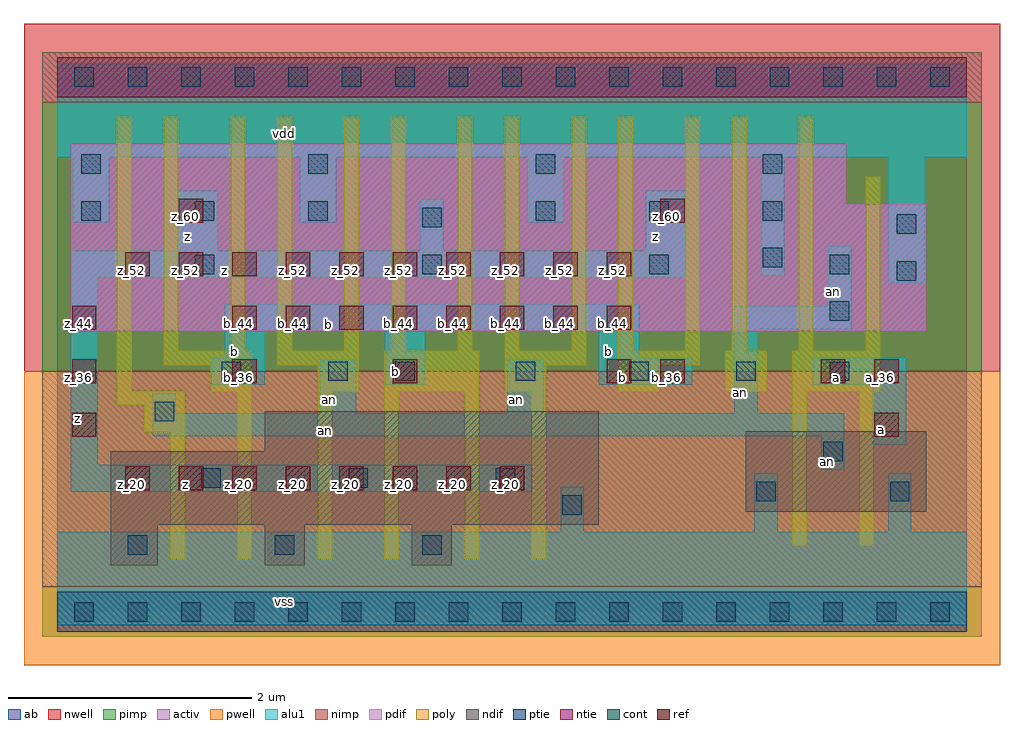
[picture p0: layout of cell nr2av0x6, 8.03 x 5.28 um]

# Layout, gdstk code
import gdstk
lib = gdstk.Library(unit=1e-6, precision=2.5e-09)
def R(c, l, rs):  # rectangles x0, y0, x1, y1
    for r in rs: c.add(gdstk.rectangle(r[:2], r[2:], *l))
def A(c, l, x, y, w, h, nx, ny, dx, dy):  # array of equal rectangles
    R(c, l, [(x+i*dx, y+j*dy, x+i*dx+w, y+j*dy+h) for i in range(nx) for j in range(ny)])
ndif = (3, 0)
pdif = (4, 0)
ntie = (5, 0)
ptie = (6, 0)
ref = (24, 0)
cont = (25, 0)
pwell = (41, 0)
nwell = (42, 0)
activ = (43, 0)
pimp = (44, 0)
nimp = (45, 0)
poly = (46, 0)
alu1 = (49, 0)
ab = (63, 0)

nr2av0x6 = lib.new_cell('nr2av0x6')
R(nr2av0x6, ndif, [(0.44,0.385,0.825,0.715), (1.705,0.385,2.035,0.715), (2.915,0.385,3.245,0.715), (0.44,0.715,4.455,1.32), (5.665,0.825,7.15,1.485), (1.705,1.32,4.455,1.65)])
R(nr2av0x6, pdif, [(0.11,2.31,7.15,3.355), (0.11,3.355,6.49,3.85)])
R(nr2av0x6, ntie, [(0,4.235,7.48,4.565)])
R(nr2av0x6, ptie, [(0,-0.165,7.48,0.165)])
A(nr2av0x6, ref, 0.56, 1, 0.2, 0.2, 8, 1, 0.44, 0)
A(nr2av0x6, ref, 0.12, 1.88, 0.2, 0.2, 3, 1, 1.32, 0)
A(nr2av0x6, ref, 1.44, 2.32, 0.2, 0.2, 8, 1, 0.44, 0)
A(nr2av0x6, ref, 0.56, 2.76, 0.2, 0.2, 10, 1, 0.44, 0)
R(nr2av0x6, ref, [(0.12,1.44,0.32,1.64), (6.72,1.44,6.92,1.64), (4.52,1.88,4.72,2.08), (4.96,1.88,5.16,2.08), (6.28,1.88,6.48,2.08), (6.72,1.88,6.92,2.08), (0.12,2.32,0.32,2.52), (1,3.2,1.2,3.4), (4.96,3.2,5.16,3.4)])
A(nr2av0x6, cont, 0.14, -0.08, 0.16, 0.16, 17, 2, 0.44, 4.4)
A(nr2av0x6, cont, 0.58, 0.47, 0.16, 0.16, 3, 1, 1.21, 0)
A(nr2av0x6, cont, 1.185, 1.02, 0.16, 0.16, 3, 1, 1.21, 0)
A(nr2av0x6, cont, 1.13, 2.78, 0.16, 0.16, 3, 1, 1.87, 0)
A(nr2av0x6, cont, 0.195, 3.22, 0.16, 0.16, 3, 1, 0.935, 0)
A(nr2av0x6, cont, 3.935, 3.22, 0.16, 0.16, 3, 1, 0.935, 0)
A(nr2av0x6, cont, 0.195, 3.605, 0.16, 0.16, 4, 1, 1.87, 0)
R(nr2av0x6, cont, [(4.155,0.8,4.315,0.96), (5.75,0.91,5.91,1.07), (6.85,0.91,7.01,1.07), (6.3,1.24,6.46,1.4), (0.8,1.57,0.96,1.73), (1.35,1.9,1.51,2.06), (2.23,1.9,2.39,2.06), (2.78,1.9,2.94,2.06), (3.77,1.9,3.93,2.06), (4.705,1.9,4.865,2.06), (5.585,1.9,5.745,2.06), (6.355,1.9,6.515,2.06), (6.355,2.395,6.515,2.555), (6.905,2.725,7.065,2.885), (6.355,2.78,6.515,2.94), (5.805,2.835,5.965,2.995), (6.905,3.11,7.065,3.27), (3,3.165,3.16,3.325)])
R(nr2av0x6, pwell, [(-0.275,-0.44,7.755,1.98)])
R(nr2av0x6, nwell, [(-0.275,1.98,7.755,4.84)])
R(nr2av0x6, activ, [(0,-0.165,7.48,0.165), (0.44,0.385,0.825,0.715), (1.705,0.385,2.035,0.715), (2.915,0.385,3.245,0.715), (0.44,0.715,4.455,1.32), (5.665,0.825,7.15,1.485), (1.705,1.32,4.455,1.65), (0.11,2.31,7.15,3.355), (0.11,3.355,6.49,3.85), (0,4.235,7.48,4.565)])
R(nr2av0x6, pimp, [(-0.125,-0.205,7.605,0.205), (-0.125,1.98,7.605,4.195)])
R(nr2av0x6, nimp, [(-0.125,0.205,7.605,1.98), (-0.125,4.195,7.605,4.605)])
R(nr2av0x6, poly, [(0.93,0.435,1.05,1.48), (1.48,0.435,1.6,1.81), (2.14,0.435,2.26,1.81), (2.69,0.435,2.81,1.81), (3.35,0.435,3.47,1.81), (3.9,0.435,4.02,1.81), (6.045,0.545,6.165,1.81), (6.595,0.545,6.715,1.81), (0.71,1.48,1.05,1.7), (0.49,1.7,1.05,1.82), (1.26,1.81,1.6,2.03), (2.14,1.81,2.48,2.03), (2.69,1.81,3.47,2.15), (3.68,1.81,4.02,2.03), (4.615,1.81,4.955,2.03), (5.495,1.81,5.835,2.15), (6.045,1.81,6.77,2.15), (0.49,1.82,0.61,4.075), (0.875,2.03,1.6,2.15), (1.81,2.03,2.48,2.15), (3.68,2.03,4.35,2.15), (4.615,2.03,5.285,2.15), (0.875,2.15,0.995,4.075), (1.425,2.15,1.545,4.075), (1.81,2.15,1.93,4.075), (2.36,2.15,2.48,4.075), (2.745,2.15,2.865,4.075), (3.295,2.15,3.415,4.075), (3.68,2.15,3.8,4.075), (4.23,2.15,4.35,4.075), (4.615,2.15,4.735,4.075), (5.165,2.15,5.285,4.075), (5.55,2.15,5.67,4.075), (6.1,2.15,6.22,4.075), (6.65,2.15,6.77,3.58)])
A(nr2av0x6, alu1, 0.125, 3.205, 0.3, 0.535, 3, 1, 1.87, 0)
R(nr2av0x6, alu1, [(0,-0.11,7.48,0.66), (4.14,0.66,4.33,1.03), (5.735,0.66,5.925,1.14), (6.835,0.66,7.025,1.14), (0.11,0.99,3.905,1.21), (6.285,1.17,6.475,1.445), (0.11,1.21,0.33,2.75), (6.71,1.375,6.985,1.87), (0.785,1.445,6.475,1.635), (0.785,1.635,0.975,1.8), (2.16,1.635,2.46,2.075), (3.7,1.635,4,2.075), (5.57,1.635,5.76,2.325), (1.265,1.87,1.705,2.09), (2.695,1.87,3.025,2.31), (4.455,1.87,5.225,2.09), (6.215,1.87,6.985,2.09), (1.375,2.09,1.705,2.31), (4.455,2.09,4.785,2.31), (1.375,2.31,4.785,2.53), (5.57,2.325,6.53,2.515), (6.34,2.515,6.53,3.01), (6.835,2.71,7.135,3.74), (0.11,2.75,5.17,2.97), (5.79,2.765,5.98,3.74), (0.99,2.97,1.32,3.465), (2.985,2.97,3.175,3.395), (4.84,2.97,5.17,3.465), (0,3.74,7.48,4.51)])
R(nr2av0x6, ab, [(0,0,7.48,4.4)])
nr2av0x6.add(gdstk.Label('vss', (1.87,0.0825), layer=49, texttype=0))
nr2av0x6.add(gdstk.Label('a', (6.7775,1.4975), layer=49, texttype=0))
nr2av0x6.add(gdstk.Label('an', (6.3325,1.2375), layer=49, texttype=0))
nr2av0x6.add(gdstk.Label('z', (1.0575,1.045), layer=49, texttype=0))
nr2av0x6.add(gdstk.Label('an', (2.2075,1.4925), layer=49, texttype=0))
nr2av0x6.add(gdstk.Label('a', (6.4075,1.925), layer=49, texttype=0))
nr2av0x6.add(gdstk.Label('an', (5.6175,1.8075), layer=49, texttype=0))
nr2av0x6.add(gdstk.Label('b', (4.6475,1.925), layer=49, texttype=0))
nr2av0x6.add(gdstk.Label('an', (3.775,1.745), layer=49, texttype=0))
nr2av0x6.add(gdstk.Label('b', (4.5375,2.145), layer=49, texttype=0))
nr2av0x6.add(gdstk.Label('b', (2.7775,1.98), layer=49, texttype=0))
nr2av0x6.add(gdstk.Label('an', (2.235,1.745), layer=49, texttype=0))
nr2av0x6.add(gdstk.Label('b', (1.4575,2.145), layer=49, texttype=0))
nr2av0x6.add(gdstk.Label('an', (6.3875,2.6375), layer=49, texttype=0))
nr2av0x6.add(gdstk.Label('b', (2.2275,2.365), layer=49, texttype=0))
nr2av0x6.add(gdstk.Label('z', (0.165,1.595), layer=49, texttype=0))
nr2av0x6.add(gdstk.Label('z', (1.375,2.805), layer=49, texttype=0))
nr2av0x6.add(gdstk.Label('z', (4.9225,3.0925), layer=49, texttype=0))
nr2av0x6.add(gdstk.Label('z', (1.0725,3.0925), layer=49, texttype=0))
nr2av0x6.add(gdstk.Label('vdd', (1.87,3.9325), layer=49, texttype=0))
nr2av0x6.add(gdstk.Label('a_36', (6.33,1.93), layer=24, texttype=0))
nr2av0x6.add(gdstk.Label('z_20', (0.61,1.05), layer=24, texttype=0))
nr2av0x6.add(gdstk.Label('z_52', (0.61,2.81), layer=24, texttype=0))
nr2av0x6.add(gdstk.Label('a_28', (6.77,1.49), layer=24, texttype=0))
nr2av0x6.add(gdstk.Label('a_36', (6.77,1.93), layer=24, texttype=0))
nr2av0x6.add(gdstk.Label('z_20', (1.05,1.05), layer=24, texttype=0))
nr2av0x6.add(gdstk.Label('z_52', (1.05,2.81), layer=24, texttype=0))
nr2av0x6.add(gdstk.Label('z_60', (1.05,3.25), layer=24, texttype=0))
nr2av0x6.add(gdstk.Label('z_20', (1.49,1.05), layer=24, texttype=0))
nr2av0x6.add(gdstk.Label('b_36', (1.49,1.93), layer=24, texttype=0))
nr2av0x6.add(gdstk.Label('b_44', (1.49,2.37), layer=24, texttype=0))
nr2av0x6.add(gdstk.Label('z_52', (1.49,2.81), layer=24, texttype=0))
nr2av0x6.add(gdstk.Label('z_20', (1.93,1.05), layer=24, texttype=0))
nr2av0x6.add(gdstk.Label('b_44', (1.93,2.37), layer=24, texttype=0))
nr2av0x6.add(gdstk.Label('z_52', (1.93,2.81), layer=24, texttype=0))
nr2av0x6.add(gdstk.Label('z_28', (0.17,1.49), layer=24, texttype=0))
nr2av0x6.add(gdstk.Label('z_36', (0.17,1.93), layer=24, texttype=0))
nr2av0x6.add(gdstk.Label('z_44', (0.17,2.37), layer=24, texttype=0))
nr2av0x6.add(gdstk.Label('z_20', (2.37,1.05), layer=24, texttype=0))
nr2av0x6.add(gdstk.Label('b_44', (2.37,2.37), layer=24, texttype=0))
nr2av0x6.add(gdstk.Label('z_52', (2.37,2.81), layer=24, texttype=0))
nr2av0x6.add(gdstk.Label('z_20', (2.81,1.05), layer=24, texttype=0))
nr2av0x6.add(gdstk.Label('b_36', (2.81,1.93), layer=24, texttype=0))
nr2av0x6.add(gdstk.Label('b_44', (2.81,2.37), layer=24, texttype=0))
nr2av0x6.add(gdstk.Label('z_52', (2.81,2.81), layer=24, texttype=0))
nr2av0x6.add(gdstk.Label('z_20', (3.25,1.05), layer=24, texttype=0))
nr2av0x6.add(gdstk.Label('b_44', (3.25,2.37), layer=24, texttype=0))
nr2av0x6.add(gdstk.Label('z_52', (3.25,2.81), layer=24, texttype=0))
nr2av0x6.add(gdstk.Label('z_20', (3.69,1.05), layer=24, texttype=0))
nr2av0x6.add(gdstk.Label('b_44', (3.69,2.37), layer=24, texttype=0))
nr2av0x6.add(gdstk.Label('z_52', (3.69,2.81), layer=24, texttype=0))
nr2av0x6.add(gdstk.Label('b_44', (4.13,2.37), layer=24, texttype=0))
nr2av0x6.add(gdstk.Label('z_52', (4.13,2.81), layer=24, texttype=0))
nr2av0x6.add(gdstk.Label('b_36', (4.57,1.93), layer=24, texttype=0))
nr2av0x6.add(gdstk.Label('b_44', (4.57,2.37), layer=24, texttype=0))
nr2av0x6.add(gdstk.Label('z_52', (4.57,2.81), layer=24, texttype=0))
nr2av0x6.add(gdstk.Label('b_36', (5.01,1.93), layer=24, texttype=0))
nr2av0x6.add(gdstk.Label('z_60', (5.01,3.25), layer=24, texttype=0))

lib.write_gds('nr2av0x6.gds')
